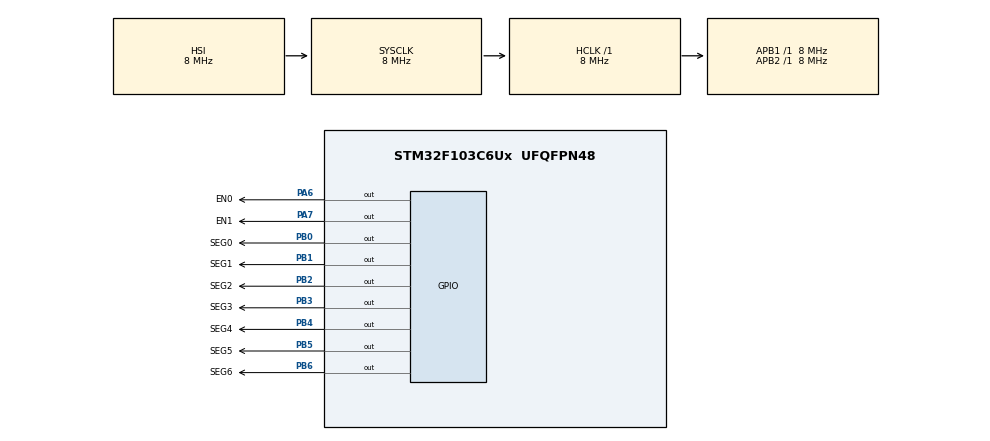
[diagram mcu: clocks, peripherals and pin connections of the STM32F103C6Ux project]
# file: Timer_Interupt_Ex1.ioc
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Mcu.Family=STM32F1
Mcu.Name=STM32F103C6Ux
Mcu.Package=UFQFPN48
NVIC.PriorityGroup=NVIC_PRIORITYGROUP_4
NVIC.TIM2_IRQn=true\:0\:0\:false\:false\:true\:true\:true
PA13.Mode=Serial_Wire
PA13.Signal=SYS_JTMS-SWDIO
PA14.Mode=Serial_Wire
PA14.Signal=SYS_JTCK-SWCLK
PA6.GPIO_Label=EN0
PA6.Signal=GPIO_Output
PA7.GPIO_Label=EN1
PA7.Signal=GPIO_Output
PB0.GPIO_Label=SEG0
PB0.Signal=GPIO_Output
PB1.GPIO_Label=SEG1
PB1.Signal=GPIO_Output
PB2.GPIO_Label=SEG2
PB2.Signal=GPIO_Output
PB3.GPIO_Label=SEG3
PB3.Signal=GPIO_Output
PB4.GPIO_Label=SEG4
PB4.Signal=GPIO_Output
PB5.GPIO_Label=SEG5
PB5.Signal=GPIO_Output
PB6.GPIO_Label=SEG6
PB6.Signal=GPIO_Output
PC14-OSC32_IN.Mode=LSE-External-Oscillator
PC14-OSC32_IN.Signal=RCC_OSC32_IN
PC15-OSC32_OUT.Mode=LSE-External-Oscillator
PC15-OSC32_OUT.Signal=RCC_OSC32_OUT
PD0-OSC_IN.Mode=HSE-External-Oscillator
PD0-OSC_IN.Signal=RCC_OSC_IN
PD1-OSC_OUT.Mode=HSE-External-Oscillator
PD1-OSC_OUT.Signal=RCC_OSC_OUT
ProjectManager.HeapSize=0x200
ProjectManager.StackSize=0x400
ProjectManager.TargetToolchain=STM32CubeIDE
RCC.AHBFreq_Value=8000000
RCC.APB1Freq_Value=8000000
RCC.APB1TimFreq_Value=8000000
RCC.APB2Freq_Value=8000000
RCC.APB2TimFreq_Value=8000000
RCC.HCLKFreq_Value=8000000
RCC.SYSCLKFreq_VALUE=8000000
RCC.USBFreq_Value=8000000
TIM2.Period=9
TIM2.Prescaler=7999
VP_TIM2_VS_ClockSourceINT.Mode=Internal
board=custom

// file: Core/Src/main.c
/* USER CODE BEGIN Header */
/**
  ******************************************************************************
  * @file           : main.c
  * @brief          : Main program body
  ******************************************************************************
  * @attention
  *
  * <h2><center>&copy; Copyright (c) 2025 STMicroelectronics.
  * All rights reserved.</center></h2>
  *
  * This software component is licensed by ST under BSD 3-Clause license,
  * the "License"; You may not use this file except in compliance with the
  * License. You may obtain a copy of the License at:
  *                        opensource.org/licenses/BSD-3-Clause
  *
  ******************************************************************************
  */
/* USER CODE END Header */
#include "main.h"

TIM_HandleTypeDef htim2;

/* USER CODE BEGIN PV */
uint16_t counter = 0;
uint8_t Led_status = 0;
/* USER CODE END PV */

void SystemClock_Config(void);
static void MX_GPIO_Init(void);
static void MX_TIM2_Init(void);

/* USER CODE BEGIN 0 */
void display7SEG(uint8_t counter){
	// The first condition -> Turn on LED
	// Config SEG A
	if(counter != 1 && counter != 4){
		HAL_GPIO_WritePin(GPIOB, SEG0_Pin, GPIO_PIN_RESET);
	}
	else HAL_GPIO_WritePin(GPIOB, SEG0_Pin, GPIO_PIN_SET);

	// Config SEG B
	if(counter != 5 && counter != 6){
		HAL_GPIO_WritePin(GPIOB, SEG1_Pin, GPIO_PIN_RESET);
	}
	else HAL_GPIO_WritePin(GPIOB, SEG1_Pin, GPIO_PIN_SET);

	// Config SEG C
	if(counter != 2){
		HAL_GPIO_WritePin(GPIOB, SEG2_Pin, GPIO_PIN_RESET);
	}
	else HAL_GPIO_WritePin(GPIOB, SEG2_Pin, GPIO_PIN_SET);

	// Config SEG D
	if(counter != 1 && counter != 4 && counter != 7){
		HAL_GPIO_WritePin(GPIOB, SEG3_Pin, GPIO_PIN_RESET);
	}
	else HAL_GPIO_WritePin(GPIOB, SEG3_Pin, GPIO_PIN_SET);

	// Config SEG E
	if(counter == 0 || counter == 2 || counter == 6 || counter == 8){
		HAL_GPIO_WritePin(GPIOB, SEG4_Pin, GPIO_PIN_RESET);
	}
	else HAL_GPIO_WritePin(GPIOB, SEG4_Pin, GPIO_PIN_SET);

	// Config SEG F
	if(counter != 1 && counter != 2 && counter != 3 && counter != 7){
		HAL_GPIO_WritePin(GPIOB, SEG5_Pin, GPIO_PIN_RESET);
	}
	else HAL_GPIO_WritePin(GPIOB, SEG5_Pin, GPIO_PIN_SET);

	// Config SEG G
	if(counter != 0 && counter != 1 && counter != 7){
		HAL_GPIO_WritePin(GPIOB, SEG6_Pin, GPIO_PIN_RESET);
	}
	else HAL_GPIO_WritePin(GPIOB, SEG6_Pin, GPIO_PIN_SET);
}

void HAL_TIM_PeriodElapsedCallback(TIM_HandleTypeDef *htim){
	if(htim == &(htim2)){

		if(counter >= 50){
			counter = 0;
			Led_status = !Led_status;
		}
		if(Led_status == 0){
			HAL_GPIO_WritePin(GPIOA, EN0_Pin, GPIO_PIN_RESET);
			HAL_GPIO_WritePin(GPIOA, EN1_Pin, GPIO_PIN_SET);
			display7SEG(1);
		}
		if(Led_status == 1){
			HAL_GPIO_WritePin(GPIOA, EN1_Pin, GPIO_PIN_RESET);
			HAL_GPIO_WritePin(GPIOA, EN0_Pin, GPIO_PIN_SET);
			display7SEG(2);
		}

		++counter;
	}
}
/* USER CODE END 0 */

int main(void)
{

  /* MCU Configuration--------------------------------------------------------*/

  /* Reset of all peripherals, Initializes the Flash interface and the Systick. */
  HAL_Init();

  /* Configure the system clock */
  SystemClock_Config();

  /* Initialize all configured peripherals */
  MX_GPIO_Init();
  MX_TIM2_Init();
  /* USER CODE BEGIN 2 */
  HAL_TIM_Base_Start_IT(&htim2);
  /* USER CODE END 2 */

  /* Infinite loop */
  while (1)
  {

  }
}

void SystemClock_Config(void)
{
  RCC_OscInitTypeDef RCC_OscInitStruct = {0};
  RCC_ClkInitTypeDef RCC_ClkInitStruct = {0};

  /** Initializes the RCC Oscillators according to the specified parameters
  * in the RCC_OscInitTypeDef structure.
  */
  RCC_OscInitStruct.OscillatorType = RCC_OSCILLATORTYPE_HSI;
  RCC_OscInitStruct.HSIState = RCC_HSI_ON;
  RCC_OscInitStruct.HSICalibrationValue = RCC_HSICALIBRATION_DEFAULT;
  RCC_OscInitStruct.PLL.PLLState = RCC_PLL_NONE;
  if (HAL_RCC_OscConfig(&RCC_OscInitStruct) != HAL_OK)
  {
    Error_Handler();
  }
  /** Initializes the CPU, AHB and APB buses clocks
  */
  RCC_ClkInitStruct.ClockType = RCC_CLOCKTYPE_HCLK|RCC_CLOCKTYPE_SYSCLK
                              |RCC_CLOCKTYPE_PCLK1|RCC_CLOCKTYPE_PCLK2;
  RCC_ClkInitStruct.SYSCLKSource = RCC_SYSCLKSOURCE_HSI;
  RCC_ClkInitStruct.AHBCLKDivider = RCC_SYSCLK_DIV1;
  RCC_ClkInitStruct.APB1CLKDivider = RCC_HCLK_DIV1;
  RCC_ClkInitStruct.APB2CLKDivider = RCC_HCLK_DIV1;

  if (HAL_RCC_ClockConfig(&RCC_ClkInitStruct, FLASH_LATENCY_0) != HAL_OK)
  {
    Error_Handler();
  }
}

static void MX_TIM2_Init(void)
{

  TIM_ClockConfigTypeDef sClockSourceConfig = {0};
  TIM_MasterConfigTypeDef sMasterConfig = {0};

  htim2.Instance = TIM2;
  htim2.Init.Prescaler = 7999;
  htim2.Init.CounterMode = TIM_COUNTERMODE_UP;
  htim2.Init.Period = 9;
  htim2.Init.ClockDivision = TIM_CLOCKDIVISION_DIV1;
  htim2.Init.AutoReloadPreload = TIM_AUTORELOAD_PRELOAD_DISABLE;
  if (HAL_TIM_Base_Init(&htim2) != HAL_OK)
  {
    Error_Handler();
  }
  sClockSourceConfig.ClockSource = TIM_CLOCKSOURCE_INTERNAL;
  if (HAL_TIM_ConfigClockSource(&htim2, &sClockSourceConfig) != HAL_OK)
  {
    Error_Handler();
  }
  sMasterConfig.MasterOutputTrigger = TIM_TRGO_RESET;
  sMasterConfig.MasterSlaveMode = TIM_MASTERSLAVEMODE_DISABLE;
  if (HAL_TIMEx_MasterConfigSynchronization(&htim2, &sMasterConfig) != HAL_OK)
  {
    Error_Handler();
  }

}

static void MX_GPIO_Init(void)
{
  GPIO_InitTypeDef GPIO_InitStruct = {0};

  /* GPIO Ports Clock Enable */
  __HAL_RCC_GPIOC_CLK_ENABLE();
  __HAL_RCC_GPIOD_CLK_ENABLE();
  __HAL_RCC_GPIOA_CLK_ENABLE();
  __HAL_RCC_GPIOB_CLK_ENABLE();

  /*Configure GPIO pin Output Level */
  HAL_GPIO_WritePin(GPIOA, EN0_Pin|EN1_Pin, GPIO_PIN_RESET);

  /*Configure GPIO pin Output Level */
  HAL_GPIO_WritePin(GPIOB, SEG0_Pin|SEG1_Pin|SEG2_Pin|SEG3_Pin
                          |SEG4_Pin|SEG5_Pin|SEG6_Pin, GPIO_PIN_RESET);

  /*Configure GPIO pins : EN0_Pin EN1_Pin */
  GPIO_InitStruct.Pin = EN0_Pin|EN1_Pin;
  GPIO_InitStruct.Mode = GPIO_MODE_OUTPUT_PP;
  GPIO_InitStruct.Pull = GPIO_NOPULL;
  GPIO_InitStruct.Speed = GPIO_SPEED_FREQ_LOW;
  HAL_GPIO_Init(GPIOA, &GPIO_InitStruct);

  /*Configure GPIO pins : SEG0_Pin SEG1_Pin SEG2_Pin SEG3_Pin
                           SEG4_Pin SEG5_Pin SEG6_Pin */
  GPIO_InitStruct.Pin = SEG0_Pin|SEG1_Pin|SEG2_Pin|SEG3_Pin
                          |SEG4_Pin|SEG5_Pin|SEG6_Pin;
  GPIO_InitStruct.Mode = GPIO_MODE_OUTPUT_PP;
  GPIO_InitStruct.Pull = GPIO_NOPULL;
  GPIO_InitStruct.Speed = GPIO_SPEED_FREQ_LOW;
  HAL_GPIO_Init(GPIOB, &GPIO_InitStruct);

}

void Error_Handler(void)
{
  __disable_irq();
  while (1)
  {
  }
}

/************************ (C) COPYRIGHT STMicroelectronics *****END OF FILE****/
